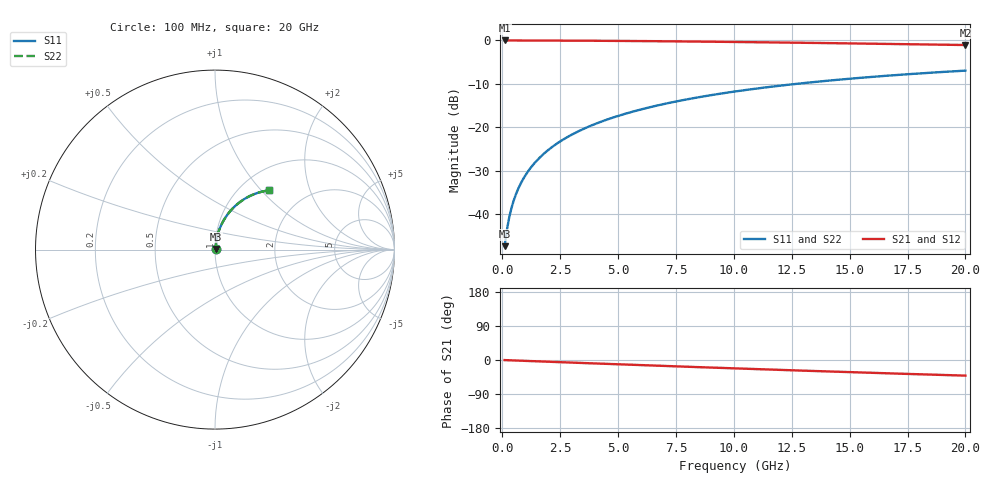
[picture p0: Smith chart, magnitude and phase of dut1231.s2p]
! Touchstone file exported from HFSS 2026.1.0
!  File:  C:/ffzhzh/LocalFiles/Ansys_Project_Files/temp_train_TMRDL_1231_1783163504_51560.aedt
!  Generated:  07:12:58 PM Jul  4, 2026
!  Design:  TMRDL
!  Project:  temp_train_TMRDL_1231_1783163504_51560
! Variables:
!  h_bsmrdl = 2um
!  h_ox = 20um
!  h_rdl = 5um
!  h_sub = 80um
!  h_tmrdl = 3.78um
!  h_tsv = 80um
!  h_via = 3um
!  l_bsmrdl = 300um
!  l_sub = 942.6um
!  l_tmrdl = 542.6um
!  m_sub = 200um
!  pitch = 54.17um
!  r_tsv = 6um
!  s_tmrdl = 10um
!  w_bsmrdl = 18um
!  w_sub = 500um
!  w_tmrdl = 16.8um
!  x_tsv_center1 = 551um
!  x_tsv_center2 = 869um
!  x_tsv_center3 = 1428.4um
!  x_tsv_center4 = 1746.4um
!  x_tsv_center5 = 2305.8um
!  x_tsv_center6 = 2623.8um
# GHz S MA R 50.000000
! Terminal data exported
! Port[1] = TM_RDL1_1_T1
! Port[2] = TM_RDL1_1_T2
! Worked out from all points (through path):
!   200 points, 100 MHz to 20 GHz, reference 50 ohm
!   highest |S21| = -0.03 dB at 100 MHz (marker M1); lowest = -1.1 dB at 20 GHz (marker M2)
!   group delay of S21, straight-line fit = 5.74 ps
!   lowest |S11| = -47.4 dB at 100 MHz (marker M3), VSWR 1.01, Z = 50.3 + j0.291 ohm
!   |S11| at or under -10 dB: start of sweep to 12.72 GHz
!   |S22| runs from -47.4 to -7.0 dB; largest |S21 - S12| = 4e-15
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0.1  0.004288 42.4  0.9968 -0.2  0.9968 -0.2  0.004288 42.4
! Gamma 0 0 0 0
! Port Impedance 50 0 50 0
0.2  0.00662 60.2  0.9967 -0.5  0.9967 -0.5  0.00662 60.2
0.3  0.009222 68.0  0.9966 -0.7  0.9966 -0.7  0.009222 68.1
0.4  0.01189 72.2  0.9965 -0.9  0.9965 -0.9  0.01189 72.2
0.5  0.01457 74.8  0.9964 -1.2  0.9964 -1.2  0.01457 74.8
0.6  0.01725 76.6  0.9963 -1.4  0.9963 -1.4  0.01726 76.6
0.8  0.02265 78.7  0.9961 -1.8  0.9961 -1.8  0.02265 78.7
1.1  0.03077 80.3  0.9957 -2.5  0.9957 -2.5  0.03077 80.3
1.5  0.04163 81.1  0.9952 -3.4  0.9952 -3.4  0.04163 81.1
1.8  0.04978 81.2  0.9947 -4.1  0.9947 -4.1  0.04978 81.2
2.1  0.05792 81.0  0.9942 -4.8  0.9942 -4.8  0.05792 81.0
2.7  0.07414 80.4  0.9928 -6.2  0.9928 -6.2  0.07414 80.4
3.5  0.09559 79.1  0.9906 -8.0  0.9906 -8.0  0.09559 79.1
4.2  0.1141 77.8  0.9883 -9.5  0.9883 -9.5  0.1141 77.8
5  0.135 76.3  0.9852 -11.3  0.9852 -11.3  0.135 76.3
5.9  0.1581 74.5  0.9812 -13.3  0.9812 -13.3  0.1581 74.5
6.8  0.1807 72.6  0.9768 -15.3  0.9768 -15.3  0.1807 72.6
8.3  0.2173 69.6  0.9686 -18.5  0.9686 -18.5  0.2173 69.5
10.1  0.2592 65.9  0.9575 -22.2  0.9575 -22.2  0.2592 65.9
13.4  0.3302 59.5  0.9345 -28.9  0.9345 -28.9  0.3302 59.4
16.7  0.3933 53.3  0.9093 -35.2  0.9093 -35.2  0.3933 53.3
20  0.4483 47.5  0.8833 -41.2  0.8833 -41.2  0.4483 47.4
